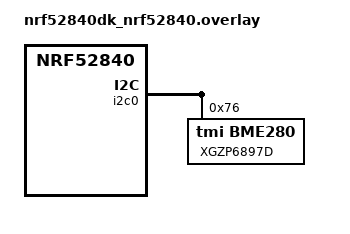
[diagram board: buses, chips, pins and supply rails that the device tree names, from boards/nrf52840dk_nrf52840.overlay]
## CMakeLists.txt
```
# SPDX-License-Identifier: Apache-2.0

cmake_minimum_required(VERSION 3.20.0)
find_package(Zephyr REQUIRED HINTS $ENV{ZEPHYR_BASE})
project(app)

target_sources(app PRIVATE
	src/main.c
)
```

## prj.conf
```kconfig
CONFIG_LOG=y
CONFIG_TMI_DRIVER_BME280=y
```

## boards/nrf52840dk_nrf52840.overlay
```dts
/ {
	aliases {
		i2c0 = &i2c0;
	};
};

&i2c0 {
	status = "okay";
	pinctrl-0 = <&i2c0_default>;
	pinctrl-1 = <&i2c0_sleep>;
	pinctrl-names = "default", "sleep";

	p0: bme280@76 {
		compatible = "tmi,bme280";
		reg = <0x76>;
		status = "okay";
		label = " XGZP6897D";
		press = <2>;
		hum = <2>;
		temp = <2>;
		filter = <2>;
	};
};
```

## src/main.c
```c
#include <zephyr/kernel.h>
#include <tmi/api/pressure.h>
#include <zephyr/logging/log.h>

LOG_MODULE_REGISTER(apps);

const struct device *p0 = DEVICE_DT_GET(DT_NODELABEL(p0));

int main(void)
{
	int ret = tmi_pressure_init(p0);
	if (ret != 0) {
		LOG_ERR("Init failed: %d\n", ret);
	}
	while (1) {
		k_msleep(1000);

		float humidity = 0;
		float pressure = 0;
		float temp = 0;
		ret = tmi_pressure_get_temp_mC(p0, &temp);
		if (ret != 0) {
			LOG_ERR("Init failed: %d\n", ret);
		}
		ret = tmi_pressure_get_humidity(p0, &humidity);
		if (ret != 0) {
			LOG_ERR("Init failed: %d\n", ret);
		}
		ret = tmi_pressure_get_pressure(p0, &pressure);
		if (ret != 0) {
			LOG_ERR("Init failed: %d\n", ret);
		}
		printk(">t:%0.3f \n", temp);
		printk(">h:%0.3f \n", humidity);
		printk(">p:%0.3f \n", pressure);
	}
}
```

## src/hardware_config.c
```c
#include <tmi/api/pressure.h>

extern const tmi_pressure_api_t bme280_api;
#define PRESSURE0 bme280_api

tmi_pressure_config_t p0_config = {
	.bus = DEVICE_DT_GET(DT_ALIAS(i2c0)),
	.addr = 0x58,
	.filter = 0,
};

struct device p0 = {
	.config = &p0_config,
	.api = &PRESSURE0,
};
```
